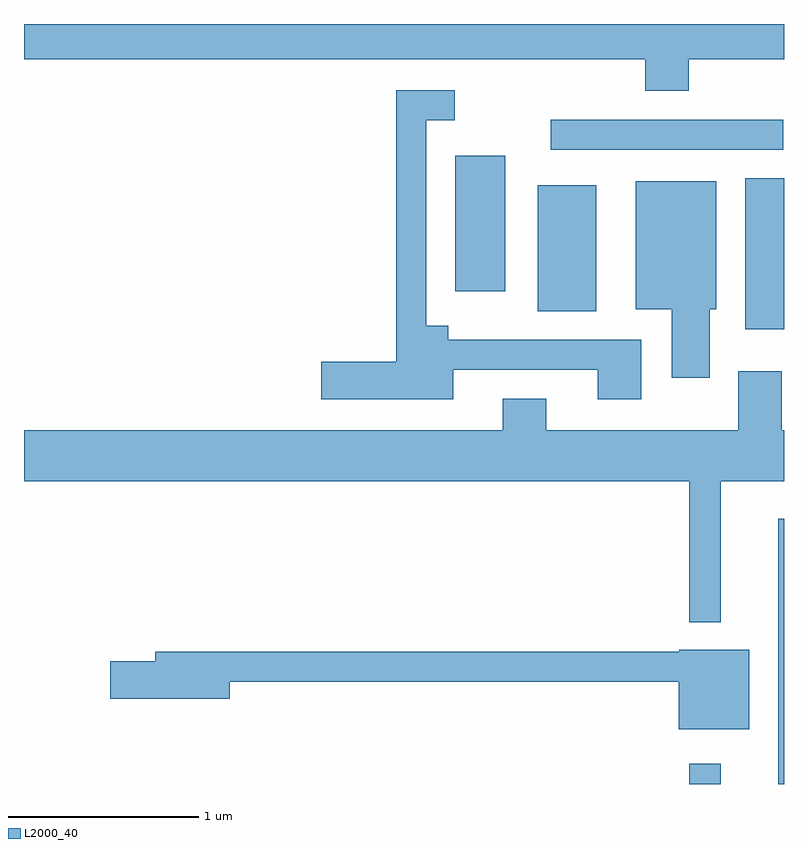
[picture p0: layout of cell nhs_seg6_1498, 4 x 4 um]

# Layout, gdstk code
import gdstk
lib = gdstk.Library(unit=1e-6, precision=1e-09)
def R(c, l, rs):  # rectangles x0, y0, x1, y1
    for r in rs: c.add(gdstk.rectangle(r[:2], r[2:], *l))
def P(c, l, *ps):  # polygons
    for p in ps: c.add(gdstk.Polygon(p, *l))
L2000_40 = (2000, 40)

nhs_seg6_1498 = lib.new_cell('nhs_seg6_1498')
R(nhs_seg6_1498, L2000_40, [(233.111,1606.162,233.279,1606.268), (233.581,1606.162,233.611,1607.559), (233.406,1608.556,233.611,1609.349), (232.316,1608.651,232.624,1609.314), (231.881,1608.756,232.144,1609.469), (232.383,1609.501,233.608,1609.659)])
P(nhs_seg6_1498, L2000_40, [(233.109,1609.976),(233.611,1609.976),(233.611,1610.162),(229.611,1610.162),(229.611,1609.976),(232.881,1609.976),(232.881,1609.811),(233.109,1609.811)],
  [(231.869,1608.341),(232.631,1608.341),(232.631,1608.186),(232.859,1608.186),(232.859,1608.499),(231.844,1608.499),(231.844,1608.574),(231.729,1608.574),(231.729,1609.656),(231.878,1609.656),(231.878,1609.814),(231.571,1609.814),(231.571,1608.384),(231.176,1608.384),(231.176,1608.186),(231.869,1608.186)],
  [(233.219,1608.661),(233.254,1608.661),(233.254,1609.334),(232.831,1609.334),(232.831,1608.661),(233.021,1608.661),(233.021,1608.301),(233.219,1608.301)],
  [(233.279,1607.756),(233.611,1607.756),(233.611,1608.024),(233.599,1608.024),(233.599,1608.334),(233.371,1608.334),(233.371,1608.024),(232.359,1608.024),(232.359,1608.189),(232.131,1608.189),(232.131,1608.024),(229.611,1608.024),(229.611,1607.756),(233.111,1607.756),(233.111,1607.013),(233.279,1607.013)],
  [(233.429,1606.869),(233.06,1606.869),(233.06,1606.859),(230.301,1606.859),(230.301,1606.809),(230.066,1606.809),(230.066,1606.611),(230.694,1606.611),(230.694,1606.701),(233.056,1606.701),(233.056,1606.451),(233.429,1606.451)])

lib.write_gds('nhs_seg6_1498.gds')
